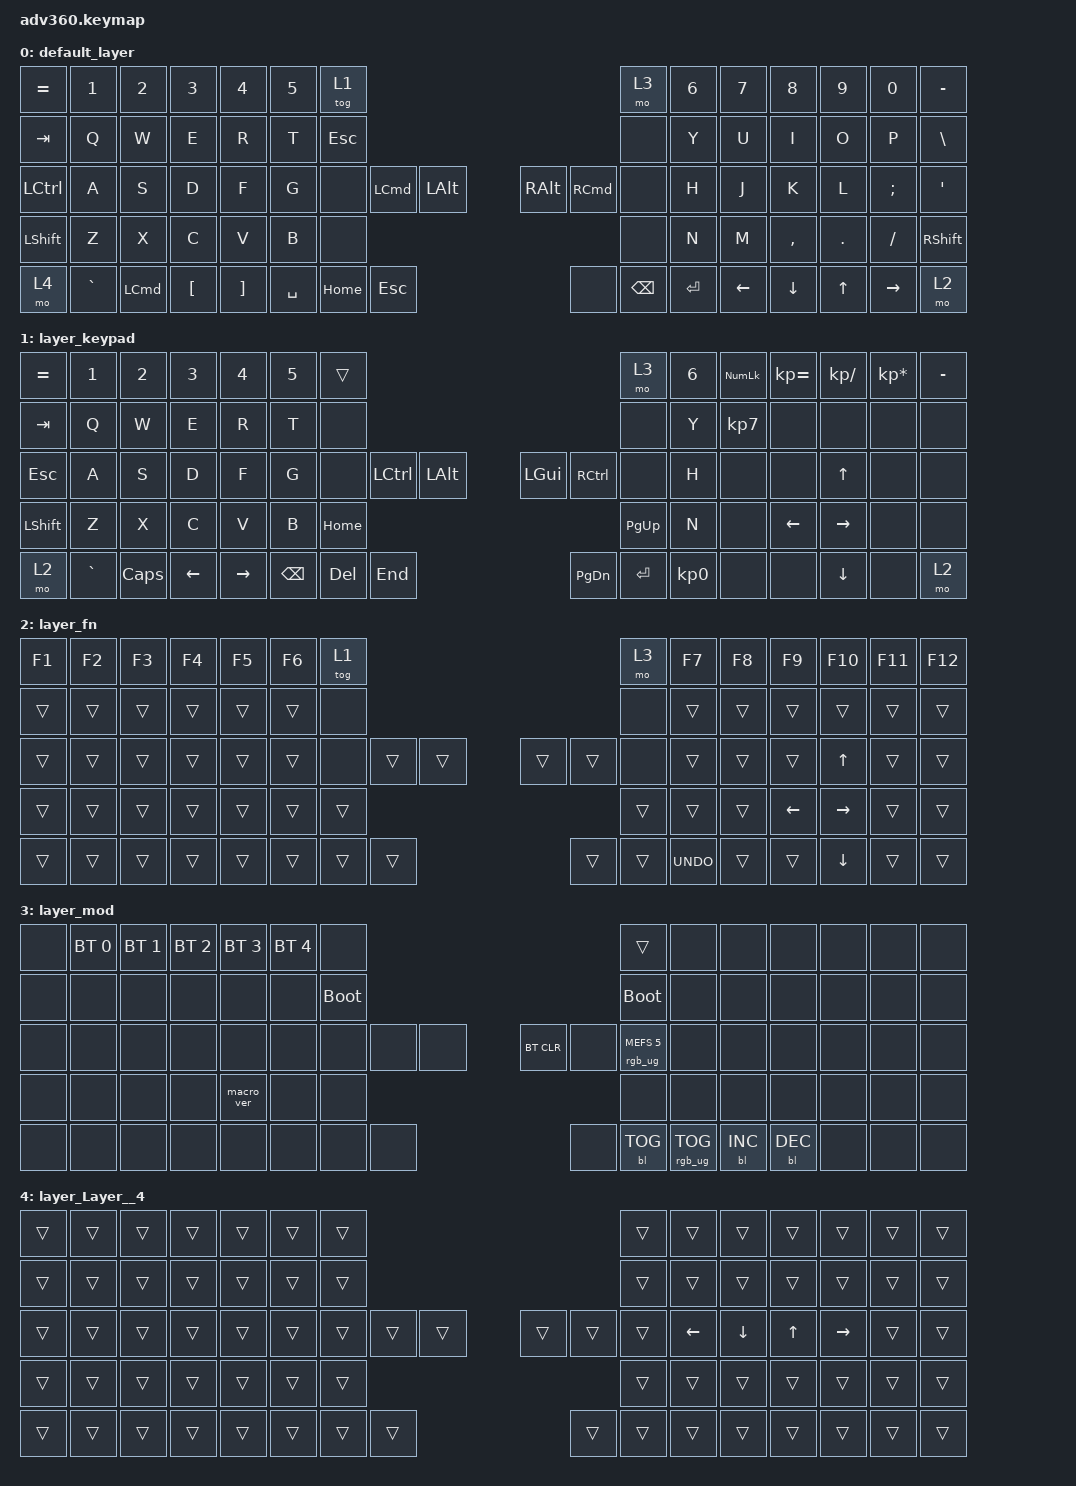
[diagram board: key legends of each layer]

/*
 * Copyright (c) 2020 The ZMK Contributors
 *
 * SPDX-License-Identifier: MIT
 */


/* THIS FILE WAS GENERATED!
 *
 * This file was generated automatically. You may or may not want to
 * edit it directly.
 */

#include <behaviors.dtsi>
#include <dt-bindings/zmk/keys.h>
#include <dt-bindings/zmk/bt.h>
#include <dt-bindings/zmk/rgb.h>
#include <dt-bindings/zmk/backlight.h>

/ {
  behaviors {
    #include "macros.dtsi"
    #include "version.dtsi"

    hm: homerow_mods {
        compatible = "zmk,behavior-hold-tap";
        label = "HOMEROW_MODS";
        #binding-cells = <2>;
        tapping-term-ms = <200>;
        quick_tap_ms = <175>;
        flavor = "tap-preferred";
        bindings = <&kp>, <&kp>;
    };
  };

    keymap {
        compatible = "zmk,keymap";


        default_layer {
            bindings = <
 &kp EQUAL     &kp N1    &kp N2    &kp N3    &kp N4  &kp N5                &tog 1                                                                        &mo 3  &kp N6          &kp N7     &kp N8        &kp N9           &kp N0  &kp MINUS
   &kp TAB      &kp Q     &kp W     &kp E     &kp R   &kp T            &kp ESCAPE                                                                        &none   &kp Y           &kp U      &kp I         &kp O            &kp P   &kp BSLH
 &kp LCTRL      &kp A     &kp S     &kp D     &kp F   &kp G                 &none  &kp LCMD  &kp LALT                  &kp RIGHT_ALT       &kp RCMD      &none   &kp H           &kp J      &kp K         &kp L         &kp SEMI    &kp SQT
 &kp LSHFT      &kp Z     &kp X     &kp C     &kp V   &kp B                                     &none                          &none                             &kp N           &kp M  &kp COMMA       &kp DOT         &kp FSLH  &kp RSHFT
     &mo 4  &kp GRAVE  &kp LCMD  &kp LBKT  &kp RBKT                     &kp SPACE  &kp HOME   &kp ESC                          &none  &kp BACKSPACE  &kp ENTER          &kp LEFT_ARROW   &kp DOWN  &kp UP_ARROW  &kp RIGHT_ARROW      &mo 2
            >;
        };

        layer_keypad {
            bindings = <
 &kp EQUAL     &kp N1    &kp N2    &kp N3     &kp N4  &kp N5              &trans                                                                 &mo 3  &kp N6  &kp KP_NUM    &kp KP_EQUAL    &kp KP_DIVIDE  &kp KP_MULTIPLY  &kp MINUS
   &kp TAB      &kp Q     &kp W     &kp E      &kp R   &kp T               &none                                                                 &none   &kp Y   &kp KP_N7           &none            &none            &none      &none
   &kp ESC      &kp A     &kp S     &kp D      &kp F   &kp G               &none  &kp LCTRL  &kp LALT                   &kp LGUI  &kp RCTRL      &none   &kp H       &none           &none     &kp UP_ARROW            &none      &none
 &kp LSHFT      &kp Z     &kp X     &kp C      &kp V   &kp B                                 &kp HOME                  &kp PG_UP                         &kp N       &none  &kp LEFT_ARROW  &kp RIGHT_ARROW            &none      &none
     &mo 2  &kp GRAVE  &kp CAPS  &kp LEFT  &kp RIGHT                    &kp BSPC    &kp DEL   &kp END                  &kp PG_DN  &kp ENTER  &kp KP_N0               &none           &none   &kp DOWN_ARROW            &none      &mo 2
            >;
        };

        layer_fn {
            bindings = <
 &kp F1  &kp F2  &kp F3  &kp F4  &kp F5  &kp F6            &tog 1                                                       &mo 3  &kp F7  &kp F8          &kp F9          &kp F10  &kp F11  &kp F12
 &trans  &trans  &trans  &trans  &trans  &trans             &none                                                       &none  &trans  &trans          &trans           &trans   &trans   &trans
 &trans  &trans  &trans  &trans  &trans  &trans             &none  &trans  &trans                  &trans  &trans       &none  &trans  &trans          &trans     &kp UP_ARROW   &trans   &trans
 &trans  &trans  &trans  &trans  &trans  &trans                            &trans                  &trans                      &trans  &trans  &kp LEFT_ARROW  &kp RIGHT_ARROW   &trans   &trans
 &trans  &trans  &trans  &trans  &trans                    &trans  &trans  &trans                  &trans  &trans  &kp K_UNDO          &trans          &trans   &kp DOWN_ARROW   &trans   &trans
            >;
        };

        layer_mod {
            bindings = <
  &none  &bt BT_SEL 0  &bt BT_SEL 1  &bt BT_SEL 2  &bt BT_SEL 3  &bt BT_SEL 4                  &none                                                                          &trans   &none       &none       &none   &none   &none   &none
  &none         &none         &none         &none         &none         &none            &bootloader                                                                     &bootloader   &none       &none       &none   &none   &none   &none
  &none         &none         &none         &none         &none         &none                  &none   &none   &none                  &bt BT_CLR       &none  &rgb_ug RGB_MEFS_CMD 5   &none       &none       &none   &none   &none   &none
  &none         &none         &none         &none    &macro_ver         &none                                  &none                       &none                                       &none       &none       &none   &none   &none   &none
  &none         &none         &none         &none         &none                                &none   &none   &none                       &none  &bl BL_TOG         &rgb_ug RGB_TOG          &bl BL_INC  &bl BL_DEC   &none   &none   &none
            >;
        };

        layer_Layer__4 {
            bindings = <
 &trans  &trans  &trans  &trans  &trans  &trans            &trans                                                  &trans          &trans          &trans        &trans           &trans  &trans  &trans
 &trans  &trans  &trans  &trans  &trans  &trans            &trans                                                  &trans          &trans          &trans        &trans           &trans  &trans  &trans
 &trans  &trans  &trans  &trans  &trans  &trans            &trans  &trans  &trans                  &trans  &trans  &trans  &kp LEFT_ARROW  &kp DOWN_ARROW  &kp UP_ARROW  &kp RIGHT_ARROW  &trans  &trans
 &trans  &trans  &trans  &trans  &trans  &trans                            &trans                  &trans                          &trans          &trans        &trans           &trans  &trans  &trans
 &trans  &trans  &trans  &trans  &trans                    &trans  &trans  &trans                  &trans  &trans  &trans                          &trans        &trans           &trans  &trans  &trans
            >;
        };

    };
};
